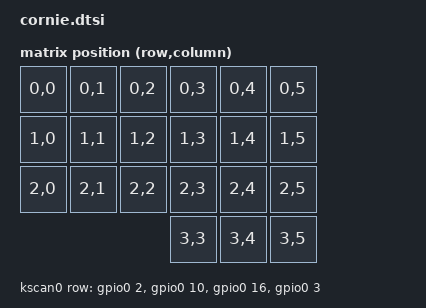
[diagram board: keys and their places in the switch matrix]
/*
 * Cornie shield - shared device tree for rows and matrix transform
 * SPDX-License-Identifier: MIT
 */

#include <dt-bindings/zmk/matrix_transform.h>

/ {
    chosen {
        zmk,kscan = &kscan0;
        zmk,matrix_transform = &default_transform;
    };

    /* Define the matrix transform (6 columns x 4 rows) */
    default_transform: keymap_transform_0 {
        compatible = "zmk,matrix-transform";
        columns = <6>;
        rows = <4>;
        map = <
            RC(0,0) RC(0,1) RC(0,2) RC(0,3) RC(0,4) RC(0,5)
            RC(1,0) RC(1,1) RC(1,2) RC(1,3) RC(1,4) RC(1,5)
            RC(2,0) RC(2,1) RC(2,2) RC(2,3) RC(2,4) RC(2,5)
                                    RC(3,3) RC(3,4) RC(3,5)
        >;
    };

    kscan0: kscan {
        compatible = "zmk,kscan-gpio-matrix";
        label = "KSCAN";
        diode-direction = "col2row";

        /* Rows are specified in order from top to bottom */
        row-gpios = <&gpio0 2 (GPIO_ACTIVE_HIGH | GPIO_PULL_DOWN)>, /* Top row */
                    <&gpio0 10 (GPIO_ACTIVE_HIGH | GPIO_PULL_DOWN)>, /* Middle row */
                    <&gpio0 16 (GPIO_ACTIVE_HIGH | GPIO_PULL_DOWN)>, /* Bottom row */
                    <&gpio0 3 (GPIO_ACTIVE_HIGH | GPIO_PULL_DOWN)>; /* Thumbfan row */
    };
};
